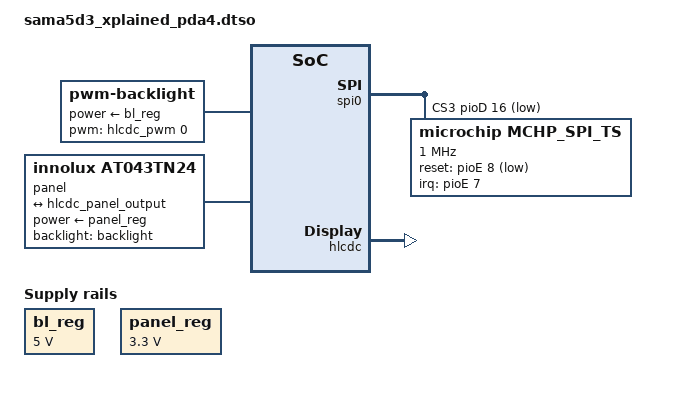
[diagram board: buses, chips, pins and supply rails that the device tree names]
// SPDX-License-Identifier: (GPL-2.0+ OR MIT)
/*
 * at91-sama5d3_xplained_pda4.dtso - Device Tree file for SAMA5D3 Xplained board
 * overlay blob for PDA TM4300 LCD screen.
 *
 * Copyright (C) 2018 Microchip Technology, Inc.
 * Author: Eugen Hristev <eugen.hristev@microchip.com>
 *
 */
/dts-v1/;
/plugin/;

#include "dt-bindings/pinctrl/at91.h"

&spi0 {
	cs-gpios = <&pioD 13 0>, <0>, <0>, <&pioD 16 1>;
	#address-cells = <1>;
	#size-cells = <0>;
	status = "okay";

	mchp_spi_ts@3 {
		compatible = "microchip, mchp_spi_ts";
		spi-max-frequency = <1000000>;
		reg = <3>;
		spi-cpha;
		spi-cpol;
	 	interrupt-parent = <&pioE>;
		interrupts = <7 0x2>;
		reset-gpios = <&pioE 8 1>;	/* Active low = 1 */
		pinctrl-names = "default";
		pinctrl-0 = <&pinctrl_mxt_irq &pinctrl_mxt_rst>;
		status = "okay";
	};
};

&hlcdc {
	status = "okay";

	hlcdc-display-controller {
		pinctrl-names = "default";
		pinctrl-0 = <&pinctrl_lcd_base &pinctrl_lcd_rgb888_alt>;
		port@0 {
			#address-cells = <1>;
			#size-cells = <0>;
			hlcdc_panel_output: endpoint@0 {
				reg = <0>;
				remote-endpoint = <&panel_input>;
			};
		};
	};
};

&pinctrl {
	board {
		pinctrl_mxt_irq: mxt_ts_irq {
			atmel,pins =
				<AT91_PIOE 7 AT91_PERIPH_GPIO AT91_PINCTRL_PULL_UP_DEGLITCH>;
		};

		pinctrl_mxt_rst: mxt_ts_rst {
			atmel,pins =
				<AT91_PIOE 8 AT91_PERIPH_GPIO AT91_PINCTRL_DEGLITCH>;
		};
	};
};

&{/} {
	model = "Atmel SAMA5D3 Xplained TM43xx";

	backlight: backlight {
		compatible = "pwm-backlight";
		pwms = <&hlcdc_pwm 0 50000 0>;
		brightness-levels = <0 4 8 16 32 64 128 255>;
		default-brightness-level = <7>;
		power-supply = <&bl_reg>;
		status = "okay";
	};

	bl_reg: backlight_regulator {
		compatible = "regulator-fixed";
		regulator-name = "backlight-power-supply";
		regulator-min-microvolt = <5000000>;
		regulator-max-microvolt = <5000000>;
		status = "okay";
	};

	panel: panel {
		compatible = "innolux,at043tn24", "simple-panel";
		backlight = <&backlight>;
		power-supply = <&panel_reg>;
		#address-cells = <1>;
		#size-cells = <0>;
		status = "okay";

		port@0 {
			reg = <0>;
			#address-cells = <1>;
			#size-cells = <0>;

			panel_input: endpoint@0 {
				reg = <0>;
				remote-endpoint = <&hlcdc_panel_output>;
			};
		};
	};

	panel_reg: panel_regulator {
		compatible = "regulator-fixed";
		regulator-name = "panel-power-supply";
		regulator-min-microvolt = <3300000>;
		regulator-max-microvolt = <3300000>;
		status = "okay";
	};
};

